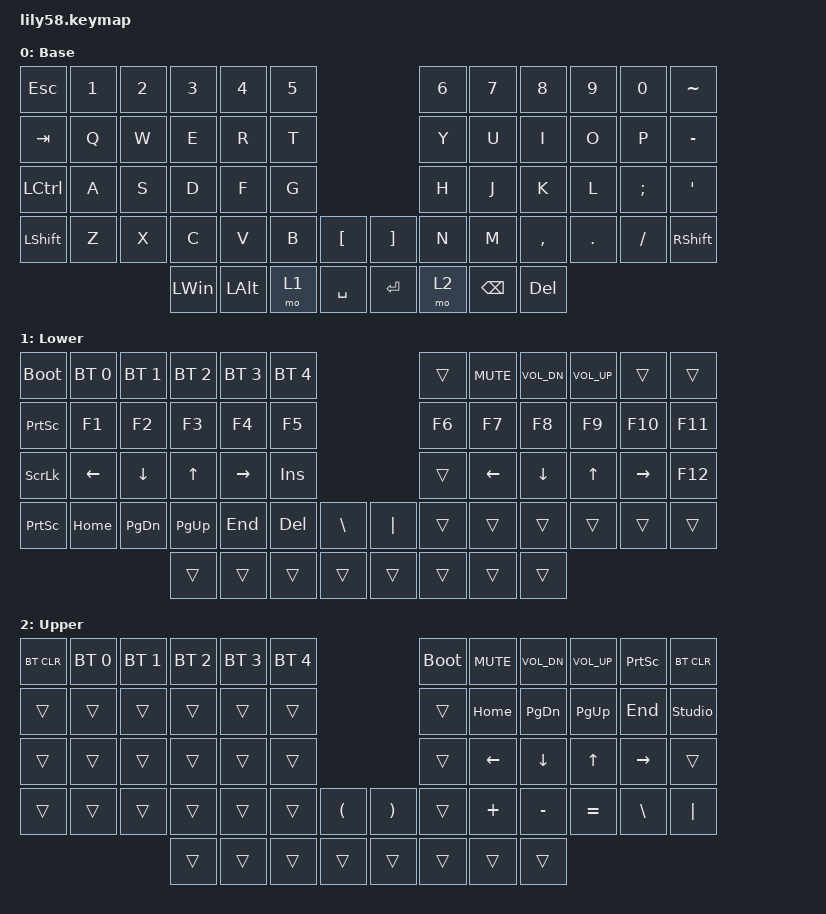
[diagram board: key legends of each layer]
/*
 * Copyright (c) 2020 The ZMK Contributors
 *
 * SPDX-License-Identifier: MIT
 */

#include <behaviors.dtsi>
#include <dt-bindings/zmk/bt.h>
#include <dt-bindings/zmk/keys.h>

/ {
    keymap {
        compatible = "zmk,keymap";

        default_layer {
            // ------------------------------------------------------------------------------------------------------------
            // |  ESC  |  1  |  2  |  3   |  4   |  5   |                   |  6   |  7    |  8    |  9   |   0   |   `   |
            // |  TAB  |  Q  |  W  |  E   |  R   |  T   |                   |  Y   |  U    |  I    |  O   |   P   |   -   |
            // |  CTRL |  A  |  S  |  D   |  F   |  G   |                   |  H   |  J    |  K    |  L   |   ;   |   '   |
            // | SHIFT |  Z  |  X  |  C   |  V   |  B   |   "["  |  |  "]"  |  N   |  M    |  ,    |  .   |   /   | SHIFT |
            //                     | ALT  | GUI  | LOWER|  SPACE |  | ENTER | RAISE| BSPC  | GUI   |

            label = "Base";
            bindings = <
&kp ESC    &kp N1  &kp N2  &kp N3        &kp N4        &kp N5                         &kp N6  &kp N7    &kp N8      &kp N9   &kp N0    &kp TILDE
&kp TAB    &kp Q   &kp W   &kp E         &kp R         &kp T                          &kp Y   &kp U     &kp I       &kp O    &kp P     &kp MINUS
&kp LCTRL  &kp A   &kp S   &kp D         &kp F         &kp G                          &kp H   &kp J     &kp K       &kp L    &kp SEMI  &kp SQT
&kp LSHFT  &kp Z   &kp X   &kp C         &kp V         &kp B   &kp LBKT     &kp RBKT  &kp N   &kp M     &kp COMMA   &kp DOT  &kp FSLH  &kp RSHFT
                           &kp LEFT_WIN  &kp LEFT_ALT  &mo 1   &kp SPACE    &kp RET   &mo 2   &kp BSPC  &kp DELETE
            >;
        };

        lower_layer {
            // ------------------------------------------------------------------------------------------------------------
            // | BTCLR | BT1 | BT2 |  BT3 |  BT4 |  BT5 |                   |      |       |       |      |       |       |
            // |  F1   |  F2 |  F3 |  F4  |  F5  |  F6  |                   |  F7  |  F8   |  F9   |  F10 |  F11  |  F12  |
            // |   `   |  !  |  @  |  #   |  $   |  %   |                   |  ^   |  &    |  *    |  (   |   )   |   ~   |
            // |       |     |     |      |      |      |        |  |       |      |  _    |  +    |  {   |   }   |  "|"  |
            //                     |      |      |      |        |  |       |      |       |       |

            label = "Lower";
            bindings = <
&bootloader      &bt BT_SEL 0  &bt BT_SEL 1   &bt BT_SEL 2  &bt BT_SEL 3  &bt BT_SEL 4                             &trans  &kp K_MUTE  &kp C_VOL_DN  &kp C_VOLUME_UP  &trans     &trans
&kp PRINTSCREEN  &kp F1        &kp F2         &kp F3        &kp F4        &kp F5                                   &kp F6  &kp F7      &kp F8        &kp F9           &kp F10    &kp F11
&kp SCROLLLOCK   &kp LEFT      &kp DOWN       &kp UP_ARROW  &kp RIGHT     &kp INSERT                               &trans  &kp LEFT    &kp DOWN      &kp UP           &kp RIGHT  &kp F12
&kp PRINTSCREEN  &kp HOME      &kp PAGE_DOWN  &kp PAGE_UP   &kp END       &kp DEL       &kp BACKSLASH    &kp PIPE  &trans  &trans      &trans        &trans           &trans     &trans
                                              &trans        &trans        &trans        &trans           &trans    &trans  &trans      &trans
            >;
        };

        upper_layer {
            bindings = <
&bt BT_CLR  &bt BT_SEL 0  &bt BT_SEL 1  &bt BT_SEL 2  &bt BT_SEL 3  &bt BT_SEL 4                                                 &bootloader  &kp K_MUTE  &kp C_VOL_DN   &kp C_VOLUME_UP  &kp PRINTSCREEN  &bt BT_CLR
&trans      &trans        &trans        &trans        &trans        &trans                                                       &trans       &kp HOME    &kp PAGE_DOWN  &kp PG_UP        &kp END          &studio_unlock
&trans      &trans        &trans        &trans        &trans        &trans                                                       &trans       &kp LEFT    &kp DOWN       &kp UP           &kp RIGHT        &trans
&trans      &trans        &trans        &trans        &trans        &trans        &kp LEFT_PARENTHESIS    &kp RIGHT_PARENTHESIS  &trans       &kp PLUS    &kp MINUS      &kp EQUAL        &kp BACKSLASH    &kp PIPE
                                        &trans        &trans        &trans        &trans                  &trans                 &trans       &trans      &trans
            >;

            label = "Upper";
        };
    };
};
